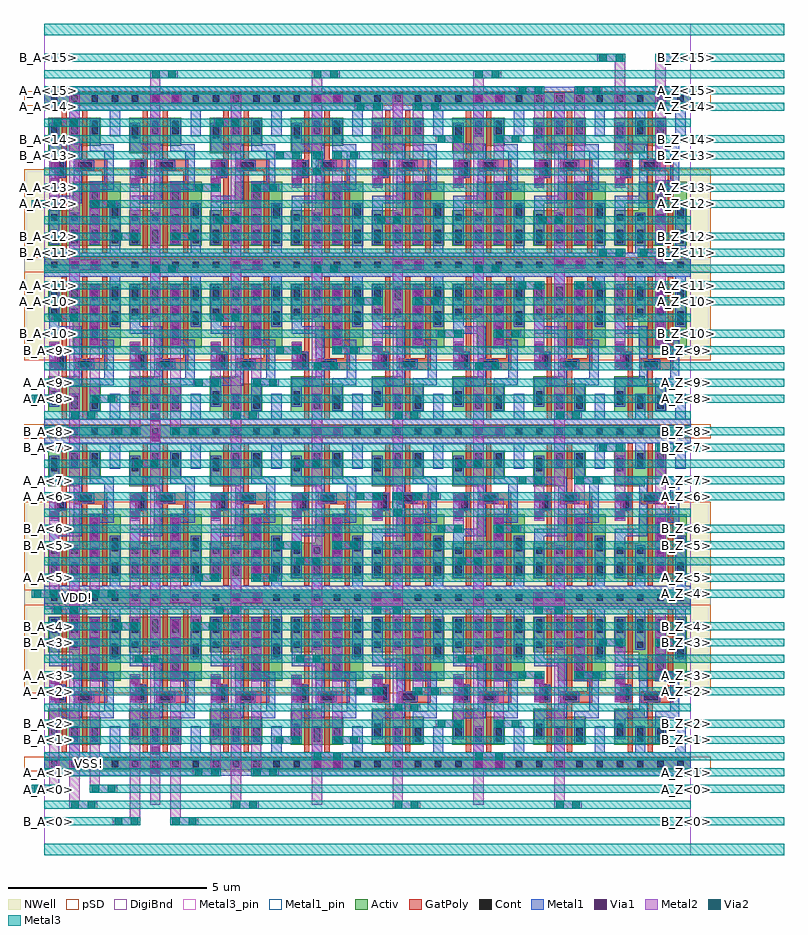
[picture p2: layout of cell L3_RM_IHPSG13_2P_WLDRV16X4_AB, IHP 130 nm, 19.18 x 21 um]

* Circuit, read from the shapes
.subckt L3_RM_IHPSG13_2P_WLDRV16X4_AB A_A<0> A_A<10> A_A<11> A_A<12> A_A<13> A_A<14> A_A<15> A_A<1> A_A<2> A_A<3> A_A<4> A_A<5> A_A<6> A_A<7> A_A<8> A_A<9> A_Z<0> A_Z<10> A_Z<11> A_Z<12> A_Z<13> A_Z<14> A_Z<15> A_Z<1> A_Z<2> A_Z<3> A_Z<4> A_Z<5> A_Z<6> A_Z<7> A_Z<8> A_Z<9> B_A<0> B_A<10> B_A<11> B_A<12> B_A<13> B_A<14> B_A<15> B_A<1> B_A<2> B_A<3> B_A<4> B_A<5> B_A<6> B_A<7> B_A<8> B_A<9> B_Z<0> B_Z<10> B_Z<11> B_Z<12> B_Z<13> B_Z<14> B_Z<15> B_Z<1> B_Z<2> B_Z<3> B_Z<4> B_Z<5> B_Z<6> B_Z<7> B_Z<8> B_Z<9> VDD! VSS!
XM1 VSS! A_A<0> n1 VSS! sg13_lv_nmos w=0.9u l=0.13u
XM2 VSS! A_A<4> n2 VSS! sg13_lv_nmos w=0.9u l=0.13u
XM3 VSS! A_A<8> n3 VSS! sg13_lv_nmos w=0.9u l=0.13u
XM4 VSS! A_A<12> n4 VSS! sg13_lv_nmos w=0.9u l=0.13u
XM5 A_Z<0> n1 VSS! VSS! sg13_lv_nmos w=0.705u l=0.13u
XM6 A_Z<4> n2 VSS! VSS! sg13_lv_nmos w=0.705u l=0.13u
XM7 A_Z<8> n3 VSS! VSS! sg13_lv_nmos w=0.705u l=0.13u
XM8 A_Z<12> n4 VSS! VSS! sg13_lv_nmos w=0.705u l=0.13u
XM9 VSS! B_A<0> n5 VSS! sg13_lv_nmos w=0.9u l=0.13u
XM10 VSS! B_A<4> n6 VSS! sg13_lv_nmos w=0.9u l=0.13u
XM11 VSS! B_A<8> n7 VSS! sg13_lv_nmos w=0.9u l=0.13u
XM12 VSS! B_A<12> n8 VSS! sg13_lv_nmos w=0.9u l=0.13u
XM13 B_Z<0> n5 VSS! VSS! sg13_lv_nmos w=0.705u l=0.13u
XM14 B_Z<4> n6 VSS! VSS! sg13_lv_nmos w=0.705u l=0.13u
XM15 B_Z<8> n7 VSS! VSS! sg13_lv_nmos w=0.705u l=0.13u
XM16 B_Z<12> n8 VSS! VSS! sg13_lv_nmos w=0.705u l=0.13u
XM17 VSS! A_A<1> n9 VSS! sg13_lv_nmos w=0.9u l=0.13u
XM18 VSS! A_A<5> n10 VSS! sg13_lv_nmos w=0.9u l=0.13u
XM19 VSS! A_A<9> n11 VSS! sg13_lv_nmos w=0.9u l=0.13u
XM20 VSS! A_A<13> n12 VSS! sg13_lv_nmos w=0.9u l=0.13u
XM21 A_Z<1> n9 VSS! VSS! sg13_lv_nmos w=0.705u l=0.13u
XM22 A_Z<5> n10 VSS! VSS! sg13_lv_nmos w=0.705u l=0.13u
XM23 A_Z<9> n11 VSS! VSS! sg13_lv_nmos w=0.705u l=0.13u
XM24 A_Z<13> n12 VSS! VSS! sg13_lv_nmos w=0.705u l=0.13u
XM25 VSS! B_A<1> n13 VSS! sg13_lv_nmos w=0.9u l=0.13u
XM26 VSS! B_A<5> n14 VSS! sg13_lv_nmos w=0.9u l=0.13u
XM27 VSS! B_A<9> n15 VSS! sg13_lv_nmos w=0.9u l=0.13u
XM28 VSS! B_A<13> n16 VSS! sg13_lv_nmos w=0.9u l=0.13u
XM29 B_Z<1> n13 VSS! VSS! sg13_lv_nmos w=0.705u l=0.13u
XM30 B_Z<5> n14 VSS! VSS! sg13_lv_nmos w=0.705u l=0.13u
XM31 B_Z<9> n15 VSS! VSS! sg13_lv_nmos w=0.705u l=0.13u
XM32 B_Z<13> n16 VSS! VSS! sg13_lv_nmos w=0.705u l=0.13u
XM33 VSS! A_A<2> n17 VSS! sg13_lv_nmos w=0.9u l=0.13u
XM34 VSS! A_A<6> n18 VSS! sg13_lv_nmos w=0.9u l=0.13u
XM35 VSS! A_A<10> n19 VSS! sg13_lv_nmos w=0.9u l=0.13u
XM36 VSS! A_A<14> n20 VSS! sg13_lv_nmos w=0.9u l=0.13u
XM37 A_Z<2> n17 VSS! VSS! sg13_lv_nmos w=0.705u l=0.13u
XM38 A_Z<6> n18 VSS! VSS! sg13_lv_nmos w=0.705u l=0.13u
XM39 A_Z<10> n19 VSS! VSS! sg13_lv_nmos w=0.705u l=0.13u
XM40 A_Z<14> n20 VSS! VSS! sg13_lv_nmos w=0.705u l=0.13u
XM41 VSS! B_A<2> n21 VSS! sg13_lv_nmos w=0.9u l=0.13u
XM42 VSS! B_A<6> n22 VSS! sg13_lv_nmos w=0.9u l=0.13u
XM43 VSS! B_A<10> n23 VSS! sg13_lv_nmos w=0.9u l=0.13u
XM44 VSS! B_A<14> n24 VSS! sg13_lv_nmos w=0.9u l=0.13u
XM45 B_Z<2> n21 VSS! VSS! sg13_lv_nmos w=0.705u l=0.13u
XM46 B_Z<6> n22 VSS! VSS! sg13_lv_nmos w=0.705u l=0.13u
XM47 B_Z<10> n23 VSS! VSS! sg13_lv_nmos w=0.705u l=0.13u
XM48 B_Z<14> n24 VSS! VSS! sg13_lv_nmos w=0.705u l=0.13u
XM49 VSS! A_A<3> n25 VSS! sg13_lv_nmos w=0.9u l=0.13u
XM50 VSS! A_A<7> n26 VSS! sg13_lv_nmos w=0.9u l=0.13u
XM51 VSS! A_A<11> n27 VSS! sg13_lv_nmos w=0.9u l=0.13u
XM52 VSS! A_A<15> n28 VSS! sg13_lv_nmos w=0.9u l=0.13u
XM53 A_Z<3> n25 VSS! VSS! sg13_lv_nmos w=0.705u l=0.13u
XM54 A_Z<7> n26 VSS! VSS! sg13_lv_nmos w=0.705u l=0.13u
XM55 A_Z<11> n27 VSS! VSS! sg13_lv_nmos w=0.705u l=0.13u
XM56 A_Z<15> n28 VSS! VSS! sg13_lv_nmos w=0.705u l=0.13u
XM57 VSS! B_A<3> n29 VSS! sg13_lv_nmos w=0.9u l=0.13u
XM58 VSS! B_A<7> n30 VSS! sg13_lv_nmos w=0.9u l=0.13u
XM59 VSS! B_A<11> n31 VSS! sg13_lv_nmos w=0.9u l=0.13u
XM60 VSS! B_A<15> n32 VSS! sg13_lv_nmos w=0.9u l=0.13u
XM61 B_Z<3> n29 VSS! VSS! sg13_lv_nmos w=0.705u l=0.13u
XM62 B_Z<7> n30 VSS! VSS! sg13_lv_nmos w=0.705u l=0.13u
XM63 B_Z<11> n31 VSS! VSS! sg13_lv_nmos w=0.705u l=0.13u
XM64 B_Z<15> n32 VSS! VSS! sg13_lv_nmos w=0.705u l=0.13u
XM65 VDD! A_A<0> n1 VDD! sg13_lv_pmos w=0.9u l=0.13u
XM66 VDD! A_A<4> n2 VDD! sg13_lv_pmos w=0.9u l=0.13u
XM67 VDD! A_A<8> n3 VDD! sg13_lv_pmos w=0.9u l=0.13u
XM68 VDD! A_A<12> n4 VDD! sg13_lv_pmos w=0.9u l=0.13u
XM69 A_Z<0> n1 VDD! VDD! sg13_lv_pmos w=1.62u l=0.13u m=2
XM70 A_Z<4> n2 VDD! VDD! sg13_lv_pmos w=1.62u l=0.13u m=2
XM71 A_Z<8> n3 VDD! VDD! sg13_lv_pmos w=1.62u l=0.13u m=2
XM72 A_Z<12> n4 VDD! VDD! sg13_lv_pmos w=1.62u l=0.13u m=2
XM73 VDD! B_A<0> n5 VDD! sg13_lv_pmos w=0.9u l=0.13u
XM74 VDD! B_A<4> n6 VDD! sg13_lv_pmos w=0.9u l=0.13u
XM75 VDD! B_A<8> n7 VDD! sg13_lv_pmos w=0.9u l=0.13u
XM76 VDD! B_A<12> n8 VDD! sg13_lv_pmos w=0.9u l=0.13u
XM77 B_Z<0> n5 VDD! VDD! sg13_lv_pmos w=1.62u l=0.13u m=2
XM78 B_Z<4> n6 VDD! VDD! sg13_lv_pmos w=1.62u l=0.13u m=2
XM79 B_Z<8> n7 VDD! VDD! sg13_lv_pmos w=1.62u l=0.13u m=2
XM80 B_Z<12> n8 VDD! VDD! sg13_lv_pmos w=1.62u l=0.13u m=2
XM81 VDD! A_A<1> n9 VDD! sg13_lv_pmos w=0.9u l=0.13u
XM82 VDD! A_A<5> n10 VDD! sg13_lv_pmos w=0.9u l=0.13u
XM83 VDD! A_A<9> n11 VDD! sg13_lv_pmos w=0.9u l=0.13u
XM84 VDD! A_A<13> n12 VDD! sg13_lv_pmos w=0.9u l=0.13u
XM85 A_Z<1> n9 VDD! VDD! sg13_lv_pmos w=1.62u l=0.13u m=2
XM86 A_Z<5> n10 VDD! VDD! sg13_lv_pmos w=1.62u l=0.13u m=2
XM87 A_Z<9> n11 VDD! VDD! sg13_lv_pmos w=1.62u l=0.13u m=2
XM88 A_Z<13> n12 VDD! VDD! sg13_lv_pmos w=1.62u l=0.13u m=2
XM89 VDD! B_A<1> n13 VDD! sg13_lv_pmos w=0.9u l=0.13u
XM90 VDD! B_A<5> n14 VDD! sg13_lv_pmos w=0.9u l=0.13u
XM91 VDD! B_A<9> n15 VDD! sg13_lv_pmos w=0.9u l=0.13u
XM92 VDD! B_A<13> n16 VDD! sg13_lv_pmos w=0.9u l=0.13u
XM93 B_Z<1> n13 VDD! VDD! sg13_lv_pmos w=1.62u l=0.13u m=2
XM94 B_Z<5> n14 VDD! VDD! sg13_lv_pmos w=1.62u l=0.13u m=2
XM95 B_Z<9> n15 VDD! VDD! sg13_lv_pmos w=1.62u l=0.13u m=2
XM96 B_Z<13> n16 VDD! VDD! sg13_lv_pmos w=1.62u l=0.13u m=2
XM97 VDD! A_A<2> n17 VDD! sg13_lv_pmos w=0.9u l=0.13u
XM98 VDD! A_A<6> n18 VDD! sg13_lv_pmos w=0.9u l=0.13u
XM99 VDD! A_A<10> n19 VDD! sg13_lv_pmos w=0.9u l=0.13u
XM100 VDD! A_A<14> n20 VDD! sg13_lv_pmos w=0.9u l=0.13u
XM101 A_Z<2> n17 VDD! VDD! sg13_lv_pmos w=1.62u l=0.13u m=2
XM102 A_Z<6> n18 VDD! VDD! sg13_lv_pmos w=1.62u l=0.13u m=2
XM103 A_Z<10> n19 VDD! VDD! sg13_lv_pmos w=1.62u l=0.13u m=2
XM104 A_Z<14> n20 VDD! VDD! sg13_lv_pmos w=1.62u l=0.13u m=2
XM105 VDD! B_A<2> n21 VDD! sg13_lv_pmos w=0.9u l=0.13u
XM106 VDD! B_A<6> n22 VDD! sg13_lv_pmos w=0.9u l=0.13u
XM107 VDD! B_A<10> n23 VDD! sg13_lv_pmos w=0.9u l=0.13u
XM108 VDD! B_A<14> n24 VDD! sg13_lv_pmos w=0.9u l=0.13u
XM109 B_Z<2> n21 VDD! VDD! sg13_lv_pmos w=1.62u l=0.13u m=2
XM110 B_Z<6> n22 VDD! VDD! sg13_lv_pmos w=1.62u l=0.13u m=2
XM111 B_Z<10> n23 VDD! VDD! sg13_lv_pmos w=1.62u l=0.13u m=2
XM112 B_Z<14> n24 VDD! VDD! sg13_lv_pmos w=1.62u l=0.13u m=2
XM113 VDD! A_A<3> n25 VDD! sg13_lv_pmos w=0.9u l=0.13u
XM114 VDD! A_A<7> n26 VDD! sg13_lv_pmos w=0.9u l=0.13u
XM115 VDD! A_A<11> n27 VDD! sg13_lv_pmos w=0.9u l=0.13u
XM116 VDD! A_A<15> n28 VDD! sg13_lv_pmos w=0.9u l=0.13u
XM117 A_Z<3> n25 VDD! VDD! sg13_lv_pmos w=1.62u l=0.13u m=2
XM118 A_Z<7> n26 VDD! VDD! sg13_lv_pmos w=1.62u l=0.13u m=2
XM119 A_Z<11> n27 VDD! VDD! sg13_lv_pmos w=1.62u l=0.13u m=2
XM120 A_Z<15> n28 VDD! VDD! sg13_lv_pmos w=1.62u l=0.13u m=2
XM121 VDD! B_A<3> n29 VDD! sg13_lv_pmos w=0.9u l=0.13u
XM122 VDD! B_A<7> n30 VDD! sg13_lv_pmos w=0.9u l=0.13u
XM123 VDD! B_A<11> n31 VDD! sg13_lv_pmos w=0.9u l=0.13u
XM124 VDD! B_A<15> n32 VDD! sg13_lv_pmos w=0.9u l=0.13u
XM125 B_Z<3> n29 VDD! VDD! sg13_lv_pmos w=1.62u l=0.13u m=2
XM126 B_Z<7> n30 VDD! VDD! sg13_lv_pmos w=1.62u l=0.13u m=2
XM127 B_Z<11> n31 VDD! VDD! sg13_lv_pmos w=1.62u l=0.13u m=2
XM128 B_Z<15> n32 VDD! VDD! sg13_lv_pmos w=1.62u l=0.13u m=2
.ends

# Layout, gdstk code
from math import pi, radians
import gdstk
lib = gdstk.Library(unit=1e-6, precision=1e-09)
def R(c, l, rs):  # rectangles x0, y0, x1, y1
    for r in rs: c.add(gdstk.rectangle(r[:2], r[2:], *l))
def A(c, l, x, y, w, h, nx, ny, dx, dy):  # array of equal rectangles
    R(c, l, [(x+i*dx, y+j*dy, x+i*dx+w, y+j*dy+h) for i in range(nx) for j in range(ny)])
def P(c, l, *ps):  # polygons
    for p in ps: c.add(gdstk.Polygon(p, *l))
Activ = (1, 0)
GatPoly = (5, 0)
Cont = (6, 0)
Metal1 = (8, 0)
Metal1_pin = (8, 2)
Metal2 = (10, 0)
pSD = (14, 0)
DigiBnd = (16, 0)
Via1 = (19, 0)
Via2 = (29, 0)
Metal3 = (30, 0)
Metal3_pin = (30, 2)
NWell = (31, 0)

l3_m3_m2_cdns_7564820148 = lib.new_cell('L3_M3_M2_CDNS_7564820148267')
R(l3_m3_m2_cdns_7564820148, Metal2, [(-0.385,-0.1,0.4,0.1)])
R(l3_m3_m2_cdns_7564820148, Via2, [(-0.335,-0.095,-0.145,0.095), (0.16,-0.095,0.35,0.095)])
R(l3_m3_m2_cdns_7564820148, Metal3, [(-0.385,-0.1,0.4,0.1)])

c_l3_m3_m2_cdns_7564820148 = lib.new_cell('L3_M3_M2_CDNS_7564820148266')
R(c_l3_m3_m2_cdns_7564820148, Metal2, [(-0.35,-0.13,0.35,0.13)])
R(c_l3_m3_m2_cdns_7564820148, Via2, [(-0.3,-0.095,-0.11,0.095), (0.11,-0.095,0.3,0.095)])
R(c_l3_m3_m2_cdns_7564820148, Metal3, [(-0.305,-0.145,0.305,0.145)])

l3_viagen12_cdns_7564820 = lib.new_cell('L3_viagen12_CDNS_7564820148225')
R(l3_viagen12_cdns_7564820, Metal1, [(-0.76,-0.13,0.76,0.13)])
R(l3_viagen12_cdns_7564820, Metal2, [(-0.76,-0.13,0.76,0.13)])
A(l3_viagen12_cdns_7564820, Via1, -0.71, -0.095, 0.19, 0.19, 4, 1, 0.41, 0)

l3_m2_m1_cdns_7564820148 = lib.new_cell('L3_M2_M1_CDNS_7564820148265')
R(l3_m2_m1_cdns_7564820148, Metal1, [(-0.385,-0.13,0.4,0.13)])
R(l3_m2_m1_cdns_7564820148, Metal2, [(-0.385,-0.13,0.4,0.13)])
R(l3_m2_m1_cdns_7564820148, Via1, [(-0.335,-0.095,-0.145,0.095), (0.16,-0.095,0.35,0.095)])

c_l3_m3_m2_cdns_7564820148_ = lib.new_cell('L3_M3_M2_CDNS_7564820148210')
R(c_l3_m3_m2_cdns_7564820148_, Metal2, [(-0.35,-0.1,0.35,0.1)])
R(c_l3_m3_m2_cdns_7564820148_, Via2, [(-0.3,-0.095,-0.11,0.095), (0.11,-0.095,0.3,0.095)])
R(c_l3_m3_m2_cdns_7564820148_, Metal3, [(-0.35,-0.1,0.35,0.1)])

l3_rsc_ihpsg13_wldrvx4 = lib.new_cell('L3_RSC_IHPSG13_WLDRVX4')
R(l3_rsc_ihpsg13_wldrvx4, Activ, [(0,-0.15,2.04,0.15), (0,4.05,2.04,4.35)])
P(l3_rsc_ihpsg13_wldrvx4, Activ, [(0.105,0.49),(0.105,1.39),(0.885,1.39),(0.885,1.195),(1.425,1.195),(1.425,0.49)],
  [(0.725,2.1),(0.725,2.82),(0.105,2.82),(0.105,3.72),(1.935,3.72),(1.935,2.1)])
P(l3_rsc_ihpsg13_wldrvx4, GatPoly, [(0.955,0.3),(0.955,1.54),(0.785,1.54),(0.785,1.84),(0.955,1.84),(0.955,3.9),(1.085,3.9),(1.085,1.84),(1.465,1.84),(1.465,3.9),(1.595,3.9),(1.595,1.54),(1.085,1.54),(1.085,0.3)],
  [(0.445,0.3),(0.445,1.54),(0.26,1.54),(0.26,2.02),(0.445,2.02),(0.445,3.9),(0.575,3.9),(0.575,0.3)])
A(l3_rsc_ihpsg13_wldrvx4, Cont, 0.175, -0.08, 0.16, 0.16, 4, 2, 0.51, 4.2)
A(l3_rsc_ihpsg13_wldrvx4, Cont, 0.175, 2.93, 0.16, 0.16, 3, 1, 0.51, 0)
A(l3_rsc_ihpsg13_wldrvx4, Cont, 0.175, 3.31, 0.16, 0.34, 4, 1, 0.51, 0)
R(l3_rsc_ihpsg13_wldrvx4, Cont, [(0.685,0.56,0.845,0.9), (1.195,0.56,1.355,0.9), (0.175,0.67,0.335,1.01), (0.33,1.61,0.49,1.95), (0.865,1.61,1.205,1.77), (1.195,2.31,1.355,2.65), (1.705,2.69,1.865,3.03)])
R(l3_rsc_ihpsg13_wldrvx4, Metal1, [(0.28,1.56,0.54,2)])
P(l3_rsc_ihpsg13_wldrvx4, Metal1, [(0.125,0.62),(0.125,1.35),(0.74,1.35),(0.74,2.46),(0.125,2.46),(0.125,3.7),(0.385,3.7),(0.385,2.65),(0.945,2.65),(0.945,1.82),(1.265,1.82),(1.265,1.56),(0.945,1.56),(0.945,1.15),(0.385,1.15),(0.385,0.62)],
  [(0,-0.3),(0,0.3),(0.635,0.3),(0.635,0.95),(0.895,0.95),(0.895,0.3),(1.655,0.3),(1.655,0.95),(1.915,0.95),(1.915,0.3),(2.04,0.3),(2.04,-0.3)],
  [(1.655,2.64),(1.655,3.9),(0.895,3.9),(0.895,2.88),(0.635,2.88),(0.635,3.9),(0,3.9),(0,4.5),(2.04,4.5),(2.04,3.9),(1.915,3.9),(1.915,2.64)],
  [(1.145,0.51),(1.145,1.33),(1.52,1.33),(1.52,2.09),(1.145,2.09),(1.145,3.7),(1.405,3.7),(1.405,2.31),(1.755,2.31),(1.755,1.155),(1.405,1.155),(1.405,0.51)])
R(l3_rsc_ihpsg13_wldrvx4, Metal1_pin, [(0,-0.3,2.04,0.3), (0.28,1.56,0.54,2), (1.145,2.115,1.405,3.7), (0,3.9,2.04,4.5)])
R(l3_rsc_ihpsg13_wldrvx4, pSD, [(-0.51,-0.18,2.55,0.18), (-0.51,1.785,2.55,4.02)])
R(l3_rsc_ihpsg13_wldrvx4, DigiBnd, [(0,-0.3,2.04,4.5)])
R(l3_rsc_ihpsg13_wldrvx4, NWell, [(-0.51,1.785,2.55,4.725)])
l3_rsc_ihpsg13_wldrvx4.add(gdstk.Label('VSS!', (0.645,0.005), layer=8, texttype=2))
l3_rsc_ihpsg13_wldrvx4.add(gdstk.Label('VDD!', (0.33,4.2), layer=8, texttype=2))
l3_rsc_ihpsg13_wldrvx4.add(gdstk.Label('Z', (1.276,2.79), layer=8, texttype=2))
l3_rsc_ihpsg13_wldrvx4.add(gdstk.Label('A', (0.41,1.78), layer=8, texttype=2))

c_l3_m2_m1_cdns_7564820148 = lib.new_cell('L3_M2_M1_CDNS_756482014820')
R(c_l3_m2_m1_cdns_7564820148, Metal1, [(-0.35,-0.13,0.35,0.13)])
R(c_l3_m2_m1_cdns_7564820148, Metal2, [(-0.35,-0.13,0.35,0.13)])
R(c_l3_m2_m1_cdns_7564820148, Via1, [(-0.3,-0.095,-0.11,0.095), (0.11,-0.095,0.3,0.095)])

l3_rm_ihpsg13_2p_wldrv16 = lib.new_cell('L3_RM_IHPSG13_2P_WLDRV16X4_AB')
R(l3_rm_ihpsg13_2p_wldrv16, Metal1, [(15.685,15.745,15.8,15.77)])
R(l3_rm_ihpsg13_2p_wldrv16, Metal1_pin, [(0,0.735,4.59,1.335), (0,4.935,4.59,5.535)])
A(l3_rm_ihpsg13_2p_wldrv16, Metal2, 0.635, 0, 0.26, 17.965, 4, 1, 4.08, 0)
A(l3_rm_ihpsg13_2p_wldrv16, Metal2, 2.675, 0, 0.26, 18.55, 3, 1, 4.08, 0)
R(l3_rm_ihpsg13_2p_wldrv16, Metal2, [(2.165,-0.51,2.425,3.035), (3.185,-0.345,3.445,3.2), (0.125,0.475,0.385,2.85), (1.145,0.475,1.405,3.62), (4.2,0.72,4.46,3.035), (5.225,0.885,5.485,3.365), (6.24,1.54,6.5,2.59), (7.265,1.64,7.525,3.66), (10.325,1.95,10.585,3.17), (11.345,1.95,11.605,3.17), (9.305,2.77,9.565,3.66), (14.405,2.775,14.665,4.2), (2.165,4.41,2.425,7.615), (3.695,4.51,3.955,5.26), (15.425,4.645,15.685,4.845), (8.27,5.02,8.795,5.105), (12.35,5.02,12.875,5.105), (3.185,5.105,3.955,5.365), (3.185,5.17,3.445,5.9), (1.145,5.335,1.405,5.85), (0.125,5.415,0.385,7.22), (4.2,5.64,4.46,7.615), (5.225,5.805,5.485,6.965), (6.245,6.46,6.505,7.615), (13.385,6.79,13.645,8.3), (15.425,6.79,15.685,9.12), (10.325,6.87,10.585,7.615), (11.345,7.19,11.605,7.73), (9.305,7.245,9.565,7.89), (12.365,7.525,12.625,8.3), (8.285,7.635,8.545,7.89), (14.405,7.635,14.665,9.12), (2.165,9.33,2.425,11.435), (3.185,9.495,3.445,12.02), (0.125,10.28,0.385,11.25), (1.145,10.315,1.405,12.44), (4.2,10.56,4.46,11.435), (5.225,10.64,5.485,12.005), (8.285,11.455,8.545,12.81), (12.365,11.455,12.625,13.22), (14.405,11.455,14.665,14.04), (10.325,11.66,10.585,11.99), (15.425,11.73,15.685,13.95), (13.385,13.06,13.645,13.22), (2.165,14.25,2.425,16.015), (0.125,15.07,0.385,15.83), (4.2,15.21,4.46,16.015), (13.385,15.445,13.645,18.1), (15.425,15.545,15.685,18.91), (9.305,15.645,9.565,17.73), (6.245,15.66,6.505,16.455), (7.265,15.66,7.525,16.455), (10.325,15.66,10.585,16.85), (11.345,15.66,11.605,16.85), (8.285,16.035,8.545,17.73), (12.365,16.035,12.625,18.14), (14.405,16.035,14.665,18.88)])
R(l3_rm_ihpsg13_2p_wldrv16, DigiBnd, [(0,-1.275,16.32,19.725)])
A(l3_rm_ihpsg13_2p_wldrv16, Metal3, 0, -0.51, 2.425, 0.2, 1, 3, 0, 4.92)
A(l3_rm_ihpsg13_2p_wldrv16, Metal3, 0, -0.1, 16.32, 0.2, 1, 8, 0, 2.46)
A(l3_rm_ihpsg13_2p_wldrv16, Metal3, -0.315, 0.31, 0.72, 0.2, 1, 4, 0, 4.92)
A(l3_rm_ihpsg13_2p_wldrv16, Metal3, 0, 1.13, 18.675, 0.2, 1, 8, 0, 2.46)
A(l3_rm_ihpsg13_2p_wldrv16, Metal3, 0, 3.18, 12.625, 0.2, 1, 4, 0, 4.92)
A(l3_rm_ihpsg13_2p_wldrv16, Metal3, 0, 6.46, 6.505, 0.2, 1, 3, 0, 4.92)
R(l3_rm_ihpsg13_2p_wldrv16, Metal3, [(0,-1.275,18.675,-0.975), (3.405,-0.51,11.45,-0.31), (11.32,-0.51,18.675,-0.31), (1.18,0.31,11.42,0.51), (11.335,0.31,18.675,0.51), (0,0.72,4.46,0.92), (5.36,0.72,11.505,0.92), (11.355,0.72,18.675,0.92), (0,1.54,6.5,1.74), (7.365,1.54,11.485,1.74), (11.38,1.54,18.675,1.74), (0,1.95,10.585,2.15), (11.4,1.95,18.675,2.15), (0,2.77,8.545,2.97), (9.49,2.77,11.49,2.97), (11.385,2.77,18.675,2.97), (13.67,3.18,18.675,3.38), (0,4,14.57,4.2), (15.425,4,18.675,4.2), (3.695,4.41,11.48,4.61), (11.375,4.41,18.675,4.61), (1.355,5.23,11.495,5.43), (11.405,5.23,18.675,5.43), (0,5.64,4.44,5.84), (5.295,5.64,11.505,5.84), (11.395,5.64,18.675,5.84), (7.315,6.46,11.83,6.66), (11.77,6.46,18.675,6.66), (0,6.87,10.505,7.07), (11.48,6.87,11.89,7.07), (11.815,6.87,18.675,7.07), (0,7.69,8.495,7.89), (9.425,7.69,11.945,7.89), (11.82,7.69,18.675,7.89), (13.385,8.1,18.675,8.3), (0,8.92,11.63,9.12), (11.6,8.92,13.56,9.12), (13.385,8.92,14.045,9.12), (15.425,8.92,18.675,9.12), (3.385,9.33,12.025,9.53), (11.805,9.33,18.675,9.53), (1.295,10.15,14.285,10.35), (11.79,10.15,18.675,10.35), (0,10.56,4.46,10.76), (5.41,10.56,13.555,10.76), (11.77,10.56,18.675,10.76), (7.555,11.38,13.815,11.58), (11.74,11.38,18.675,11.58), (0,11.79,10.55,11.99), (11.345,11.79,13.795,11.99), (11.74,11.79,18.675,11.99), (0,12.61,8.545,12.81), (9.425,12.61,15.24,12.81), (15.085,12.61,18.675,12.81), (13.385,13.02,15.37,13.22), (15.13,13.02,18.675,13.22), (0,13.84,14.605,14.04), (15.64,13.84,18.675,14.04), (0,14.25,2.39,14.45), (3.185,14.25,12.16,14.45), (12.095,14.25,18.675,14.45), (1.415,15.07,12.215,15.27), (12.105,15.07,18.675,15.27), (0,15.48,4.46,15.68), (5.395,15.48,12.16,15.68), (12.11,15.48,18.675,15.68), (7.535,16.3,12.175,16.5), (12.12,16.3,18.675,16.5), (0,16.71,10.55,16.91), (11.7,16.71,18.675,16.91), (0,17.53,8.545,17.73), (9.305,17.53,12.25,17.73), (12.165,17.53,18.675,17.73), (13.84,17.94,18.675,18.14), (0,18.76,12.255,18.96), (11.965,18.76,14.22,18.96), (15.45,18.76,18.675,18.96), (0,19.425,18.675,19.725)])
R(l3_rm_ihpsg13_2p_wldrv16, Metal3_pin, [(0,-0.51,0.2,-0.31), (16.11,-0.51,16.32,-0.31), (0,0.31,0.2,0.51), (16.11,0.31,16.32,0.51), (0,0.72,0.2,0.92), (16.11,0.72,16.32,0.92), (0,1.54,0.2,1.74), (16.11,1.54,16.32,1.74), (0,1.95,0.2,2.15), (16.11,1.95,16.32,2.15), (0,2.77,0.2,2.97), (16.11,2.77,16.32,2.97), (0,3.18,0.2,3.38), (16.11,3.18,16.32,3.38), (0,4,0.2,4.2), (16.11,4,16.32,4.2), (0,4.41,0.2,4.61), (16.11,4.41,16.32,4.61), (0,5.23,0.2,5.43), (16.11,5.23,16.32,5.43), (0,5.64,0.2,5.84), (16.11,5.64,16.32,5.84), (0,6.46,0.2,6.66), (16.11,6.46,16.32,6.66), (0,6.87,0.2,7.07), (16.11,6.87,16.32,7.07), (0,7.69,0.2,7.89), (16.11,7.69,16.32,7.89), (0,8.1,0.2,8.3), (16.11,8.1,16.32,8.3), (0,8.92,0.2,9.12), (16.11,8.92,16.32,9.12), (0,9.33,0.2,9.53), (16.11,9.33,16.32,9.53), (0,10.15,0.2,10.35), (16.11,10.15,16.32,10.35), (0,10.56,0.2,10.76), (16.11,10.56,16.32,10.76), (0,11.38,0.2,11.58), (16.11,11.38,16.32,11.58), (0,11.79,0.2,11.99), (16.11,11.79,16.32,11.99), (0,12.61,0.2,12.81), (16.11,12.61,16.32,12.81), (0,13.02,0.2,13.22), (16.11,13.02,16.32,13.22), (0,13.84,0.2,14.04), (16.11,13.84,16.32,14.04), (0,14.25,0.2,14.45), (16.11,14.25,16.32,14.45), (0,15.07,0.2,15.27), (16.11,15.07,16.32,15.27), (0,15.48,0.2,15.68), (16.11,15.48,16.32,15.68), (0,16.3,0.2,16.5), (16.11,16.3,16.32,16.5), (0,16.71,0.2,16.91), (16.11,16.71,16.32,16.91), (0,17.53,0.2,17.73), (16.11,17.53,16.32,17.73), (0,17.94,0.2,18.14), (16.11,17.94,16.32,18.14), (0,18.76,0.2,18.96), (16.11,18.76,16.32,18.96)])
l3_rm_ihpsg13_2p_wldrv16.add(gdstk.Reference(l3_m3_m2_cdns_7564820148, (7.14,1.23)))
l3_rm_ihpsg13_2p_wldrv16.add(gdstk.Reference(l3_m3_m2_cdns_7564820148, (11.22,1.23)))
l3_rm_ihpsg13_2p_wldrv16.add(gdstk.Reference(l3_m3_m2_cdns_7564820148, (8.655,4.92)))
l3_rm_ihpsg13_2p_wldrv16.add(gdstk.Reference(l3_m3_m2_cdns_7564820148, (12.735,4.92)))
l3_rm_ihpsg13_2p_wldrv16.add(gdstk.Reference(c_l3_m3_m2_cdns_7564820148, (8.925,7.585), rotation=pi/2))
l3_rm_ihpsg13_2p_wldrv16.add(gdstk.Reference(c_l3_m3_m2_cdns_7564820148, (6.885,16.195), rotation=pi/2))
l3_rm_ihpsg13_2p_wldrv16.add(gdstk.Reference(l3_viagen12_cdns_7564820, (1.275,3.93), rotation=pi/2))
l3_rm_ihpsg13_2p_wldrv16.add(gdstk.Reference(l3_viagen12_cdns_7564820, (3.315,3.93), rotation=pi/2))
l3_rm_ihpsg13_2p_wldrv16.add(gdstk.Reference(l3_viagen12_cdns_7564820, (5.355,3.93), rotation=pi/2))
l3_rm_ihpsg13_2p_wldrv16.add(gdstk.Reference(l3_viagen12_cdns_7564820, (7.395,3.93), rotation=pi/2))
l3_rm_ihpsg13_2p_wldrv16.add(gdstk.Reference(l3_viagen12_cdns_7564820, (9.435,3.93), rotation=pi/2))
l3_rm_ihpsg13_2p_wldrv16.add(gdstk.Reference(l3_viagen12_cdns_7564820, (11.475,3.93), rotation=pi/2))
l3_rm_ihpsg13_2p_wldrv16.add(gdstk.Reference(l3_viagen12_cdns_7564820, (13.515,3.93), rotation=pi/2))
l3_rm_ihpsg13_2p_wldrv16.add(gdstk.Reference(l3_viagen12_cdns_7564820, (15.555,3.93), rotation=pi/2))
l3_rm_ihpsg13_2p_wldrv16.add(gdstk.Reference(l3_viagen12_cdns_7564820, (1.275,6.54), rotation=pi/2))
l3_rm_ihpsg13_2p_wldrv16.add(gdstk.Reference(l3_viagen12_cdns_7564820, (3.315,6.54), rotation=pi/2))
l3_rm_ihpsg13_2p_wldrv16.add(gdstk.Reference(l3_viagen12_cdns_7564820, (5.355,6.54), rotation=pi/2))
l3_rm_ihpsg13_2p_wldrv16.add(gdstk.Reference(l3_viagen12_cdns_7564820, (7.395,6.54), rotation=pi/2))
l3_rm_ihpsg13_2p_wldrv16.add(gdstk.Reference(l3_viagen12_cdns_7564820, (9.435,6.54), rotation=pi/2))
l3_rm_ihpsg13_2p_wldrv16.add(gdstk.Reference(l3_viagen12_cdns_7564820, (11.475,6.54), rotation=pi/2))
l3_rm_ihpsg13_2p_wldrv16.add(gdstk.Reference(l3_viagen12_cdns_7564820, (13.515,6.54), rotation=pi/2))
l3_rm_ihpsg13_2p_wldrv16.add(gdstk.Reference(l3_viagen12_cdns_7564820, (15.555,6.54), rotation=pi/2))
l3_rm_ihpsg13_2p_wldrv16.add(gdstk.Reference(l3_viagen12_cdns_7564820, (1.275,12.33), rotation=pi/2))
l3_rm_ihpsg13_2p_wldrv16.add(gdstk.Reference(l3_viagen12_cdns_7564820, (3.315,12.33), rotation=pi/2))
l3_rm_ihpsg13_2p_wldrv16.add(gdstk.Reference(l3_viagen12_cdns_7564820, (5.355,12.33), rotation=pi/2))
l3_rm_ihpsg13_2p_wldrv16.add(gdstk.Reference(l3_viagen12_cdns_7564820, (7.395,12.33), rotation=pi/2))
l3_rm_ihpsg13_2p_wldrv16.add(gdstk.Reference(l3_viagen12_cdns_7564820, (9.435,12.33), rotation=pi/2))
l3_rm_ihpsg13_2p_wldrv16.add(gdstk.Reference(l3_viagen12_cdns_7564820, (11.475,12.33), rotation=pi/2))
l3_rm_ihpsg13_2p_wldrv16.add(gdstk.Reference(l3_viagen12_cdns_7564820, (13.515,12.33), rotation=pi/2))
l3_rm_ihpsg13_2p_wldrv16.add(gdstk.Reference(l3_viagen12_cdns_7564820, (15.555,12.33), rotation=pi/2))
l3_rm_ihpsg13_2p_wldrv16.add(gdstk.Reference(l3_viagen12_cdns_7564820, (1.275,14.94), rotation=pi/2))
l3_rm_ihpsg13_2p_wldrv16.add(gdstk.Reference(l3_viagen12_cdns_7564820, (3.315,14.94), rotation=pi/2))
l3_rm_ihpsg13_2p_wldrv16.add(gdstk.Reference(l3_viagen12_cdns_7564820, (5.355,14.94), rotation=pi/2))
l3_rm_ihpsg13_2p_wldrv16.add(gdstk.Reference(l3_viagen12_cdns_7564820, (7.395,14.94), rotation=pi/2))
l3_rm_ihpsg13_2p_wldrv16.add(gdstk.Reference(l3_viagen12_cdns_7564820, (9.435,14.94), rotation=pi/2))
l3_rm_ihpsg13_2p_wldrv16.add(gdstk.Reference(l3_viagen12_cdns_7564820, (11.475,14.94), rotation=pi/2))
l3_rm_ihpsg13_2p_wldrv16.add(gdstk.Reference(l3_viagen12_cdns_7564820, (13.515,14.94), rotation=pi/2))
l3_rm_ihpsg13_2p_wldrv16.add(gdstk.Reference(l3_viagen12_cdns_7564820, (15.555,15.01), rotation=pi/2))
l3_rm_ihpsg13_2p_wldrv16.add(gdstk.Reference(l3_m2_m1_cdns_7564820148, (7.155,1.035), rotation=pi))
l3_rm_ihpsg13_2p_wldrv16.add(gdstk.Reference(l3_m2_m1_cdns_7564820148, (11.235,1.035), rotation=pi))
l3_rm_ihpsg13_2p_wldrv16.add(gdstk.Reference(l3_m2_m1_cdns_7564820148, (5.115,5.235), rotation=pi))
l3_rm_ihpsg13_2p_wldrv16.add(gdstk.Reference(l3_m2_m1_cdns_7564820148, (8.67,5.235), rotation=pi))
l3_rm_ihpsg13_2p_wldrv16.add(gdstk.Reference(l3_m2_m1_cdns_7564820148, (12.75,5.235), rotation=pi))
l3_rm_ihpsg13_2p_wldrv16.add(gdstk.Reference(l3_m2_m1_cdns_7564820148, (7.155,9.445), rotation=pi))
l3_rm_ihpsg13_2p_wldrv16.add(gdstk.Reference(l3_m2_m1_cdns_7564820148, (11.235,9.445), rotation=pi))
l3_rm_ihpsg13_2p_wldrv16.add(gdstk.Reference(l3_m2_m1_cdns_7564820148, (1.035,13.635), rotation=pi))
l3_rm_ihpsg13_2p_wldrv16.add(gdstk.Reference(l3_m2_m1_cdns_7564820148, (5.115,13.635), rotation=pi))
l3_rm_ihpsg13_2p_wldrv16.add(gdstk.Reference(l3_m2_m1_cdns_7564820148, (9.195,13.635), rotation=pi))
l3_rm_ihpsg13_2p_wldrv16.add(gdstk.Reference(l3_m2_m1_cdns_7564820148, (13.275,13.66), rotation=pi))
l3_rm_ihpsg13_2p_wldrv16.add(gdstk.Reference(l3_m2_m1_cdns_7564820148, (3.075,17.835), rotation=pi))
l3_rm_ihpsg13_2p_wldrv16.add(gdstk.Reference(l3_m2_m1_cdns_7564820148, (7.155,17.835), rotation=pi))
l3_rm_ihpsg13_2p_wldrv16.add(gdstk.Reference(l3_m2_m1_cdns_7564820148, (11.235,17.835), rotation=pi))
l3_rm_ihpsg13_2p_wldrv16.add(gdstk.Reference(c_l3_m3_m2_cdns_7564820148_, (3.535,-0.41)))
l3_rm_ihpsg13_2p_wldrv16.add(gdstk.Reference(c_l3_m3_m2_cdns_7564820148_, (0.985,0)))
l3_rm_ihpsg13_2p_wldrv16.add(gdstk.Reference(c_l3_m3_m2_cdns_7564820148_, (5.065,0)))
l3_rm_ihpsg13_2p_wldrv16.add(gdstk.Reference(c_l3_m3_m2_cdns_7564820148_, (9.145,0)))
l3_rm_ihpsg13_2p_wldrv16.add(gdstk.Reference(c_l3_m3_m2_cdns_7564820148_, (13.225,0)))
l3_rm_ihpsg13_2p_wldrv16.add(gdstk.Reference(c_l3_m3_m2_cdns_7564820148_, (0.035,0.41)))
l3_rm_ihpsg13_2p_wldrv16.add(gdstk.Reference(c_l3_m3_m2_cdns_7564820148_, (1.495,0.41)))
l3_rm_ihpsg13_2p_wldrv16.add(gdstk.Reference(c_l3_m3_m2_cdns_7564820148_, (5.575,0.82)))
l3_rm_ihpsg13_2p_wldrv16.add(gdstk.Reference(c_l3_m3_m2_cdns_7564820148_, (9.145,2.46)))
l3_rm_ihpsg13_2p_wldrv16.add(gdstk.Reference(c_l3_m3_m2_cdns_7564820148_, (2.585,3.69)))
l3_rm_ihpsg13_2p_wldrv16.add(gdstk.Reference(c_l3_m3_m2_cdns_7564820148_, (6.665,3.69)))
l3_rm_ihpsg13_2p_wldrv16.add(gdstk.Reference(c_l3_m3_m2_cdns_7564820148_, (10.745,3.69)))
l3_rm_ihpsg13_2p_wldrv16.add(gdstk.Reference(c_l3_m3_m2_cdns_7564820148_, (4.045,4.51)))
l3_rm_ihpsg13_2p_wldrv16.add(gdstk.Reference(c_l3_m3_m2_cdns_7564820148_, (0.545,4.92)))
l3_rm_ihpsg13_2p_wldrv16.add(gdstk.Reference(c_l3_m3_m2_cdns_7564820148_, (4.625,4.92)))
l3_rm_ihpsg13_2p_wldrv16.add(gdstk.Reference(c_l3_m3_m2_cdns_7564820148_, (0.035,5.33)))
l3_rm_ihpsg13_2p_wldrv16.add(gdstk.Reference(c_l3_m3_m2_cdns_7564820148_, (1.495,5.33)))
l3_rm_ihpsg13_2p_wldrv16.add(gdstk.Reference(c_l3_m3_m2_cdns_7564820148_, (5.575,5.74)))
l3_rm_ihpsg13_2p_wldrv16.add(gdstk.Reference(c_l3_m3_m2_cdns_7564820148_, (6.665,6.15)))
l3_rm_ihpsg13_2p_wldrv16.add(gdstk.Reference(c_l3_m3_m2_cdns_7564820148_, (10.745,6.15)))
l3_rm_ihpsg13_2p_wldrv16.add(gdstk.Reference(c_l3_m3_m2_cdns_7564820148_, (9.655,7.79)))
l3_rm_ihpsg13_2p_wldrv16.add(gdstk.Reference(c_l3_m3_m2_cdns_7564820148_, (2.585,8.61)))
l3_rm_ihpsg13_2p_wldrv16.add(gdstk.Reference(c_l3_m3_m2_cdns_7564820148_, (6.665,8.61)))
l3_rm_ihpsg13_2p_wldrv16.add(gdstk.Reference(c_l3_m3_m2_cdns_7564820148_, (10.745,8.61)))
l3_rm_ihpsg13_2p_wldrv16.add(gdstk.Reference(c_l3_m3_m2_cdns_7564820148_, (3.535,9.43)))
l3_rm_ihpsg13_2p_wldrv16.add(gdstk.Reference(c_l3_m3_m2_cdns_7564820148_, (0.985,9.84)))
l3_rm_ihpsg13_2p_wldrv16.add(gdstk.Reference(c_l3_m3_m2_cdns_7564820148_, (5.065,9.84)))
l3_rm_ihpsg13_2p_wldrv16.add(gdstk.Reference(c_l3_m3_m2_cdns_7564820148_, (9.145,9.84)))
l3_rm_ihpsg13_2p_wldrv16.add(gdstk.Reference(c_l3_m3_m2_cdns_7564820148_, (13.225,9.84)))
l3_rm_ihpsg13_2p_wldrv16.add(gdstk.Reference(c_l3_m3_m2_cdns_7564820148_, (0.035,10.25)))
l3_rm_ihpsg13_2p_wldrv16.add(gdstk.Reference(c_l3_m3_m2_cdns_7564820148_, (1.495,10.25)))
l3_rm_ihpsg13_2p_wldrv16.add(gdstk.Reference(c_l3_m3_m2_cdns_7564820148_, (5.575,10.66)))
l3_rm_ihpsg13_2p_wldrv16.add(gdstk.Reference(c_l3_m3_m2_cdns_7564820148_, (7.105,11.07)))
l3_rm_ihpsg13_2p_wldrv16.add(gdstk.Reference(c_l3_m3_m2_cdns_7564820148_, (11.185,11.07)))
l3_rm_ihpsg13_2p_wldrv16.add(gdstk.Reference(c_l3_m3_m2_cdns_7564820148_, (0.545,12.3)))
l3_rm_ihpsg13_2p_wldrv16.add(gdstk.Reference(c_l3_m3_m2_cdns_7564820148_, (4.625,12.3)))
l3_rm_ihpsg13_2p_wldrv16.add(gdstk.Reference(c_l3_m3_m2_cdns_7564820148_, (3.025,13.53)))
l3_rm_ihpsg13_2p_wldrv16.add(gdstk.Reference(c_l3_m3_m2_cdns_7564820148_, (7.105,13.53)))
l3_rm_ihpsg13_2p_wldrv16.add(gdstk.Reference(c_l3_m3_m2_cdns_7564820148_, (11.185,13.53)))
l3_rm_ihpsg13_2p_wldrv16.add(gdstk.Reference(c_l3_m3_m2_cdns_7564820148_, (3.535,14.35)))
l3_rm_ihpsg13_2p_wldrv16.add(gdstk.Reference(c_l3_m3_m2_cdns_7564820148_, (4.625,14.76)))
l3_rm_ihpsg13_2p_wldrv16.add(gdstk.Reference(c_l3_m3_m2_cdns_7564820148_, (8.705,14.76)))
l3_rm_ihpsg13_2p_wldrv16.add(gdstk.Reference(c_l3_m3_m2_cdns_7564820148_, (12.785,14.76)))
l3_rm_ihpsg13_2p_wldrv16.add(gdstk.Reference(c_l3_m3_m2_cdns_7564820148_, (0.035,15.17)))
l3_rm_ihpsg13_2p_wldrv16.add(gdstk.Reference(c_l3_m3_m2_cdns_7564820148_, (1.495,15.17)))
l3_rm_ihpsg13_2p_wldrv16.add(gdstk.Reference(c_l3_m3_m2_cdns_7564820148_, (5.575,15.58)))
l3_rm_ihpsg13_2p_wldrv16.add(gdstk.Reference(c_l3_m3_m2_cdns_7564820148_, (0.545,17.22)))
l3_rm_ihpsg13_2p_wldrv16.add(gdstk.Reference(c_l3_m3_m2_cdns_7564820148_, (4.625,17.22)))
l3_rm_ihpsg13_2p_wldrv16.add(gdstk.Reference(c_l3_m3_m2_cdns_7564820148_, (9.655,17.63)))
l3_rm_ihpsg13_2p_wldrv16.add(gdstk.Reference(c_l3_m3_m2_cdns_7564820148_, (3.025,18.45)))
l3_rm_ihpsg13_2p_wldrv16.add(gdstk.Reference(c_l3_m3_m2_cdns_7564820148_, (7.105,18.45)))
l3_rm_ihpsg13_2p_wldrv16.add(gdstk.Reference(c_l3_m3_m2_cdns_7564820148_, (11.185,18.45)))
l3_rm_ihpsg13_2p_wldrv16.add(gdstk.Reference(l3_m2_m1_cdns_7564820148, (2.805,1.135), rotation=3*pi/2))
l3_rm_ihpsg13_2p_wldrv16.add(gdstk.Reference(l3_m2_m1_cdns_7564820148, (0.765,5.08), rotation=3*pi/2))
l3_rm_ihpsg13_2p_wldrv16.add(gdstk.Reference(l3_m2_m1_cdns_7564820148, (2.805,9.535), rotation=3*pi/2))
l3_rm_ihpsg13_2p_wldrv16.add(gdstk.Reference(c_l3_m3_m2_cdns_7564820148_, (2.075,-0.41), rotation=pi, x_reflection=True))
l3_rm_ihpsg13_2p_wldrv16.add(gdstk.Reference(c_l3_m3_m2_cdns_7564820148_, (4.105,0.82), rotation=pi, x_reflection=True))
l3_rm_ihpsg13_2p_wldrv16.add(gdstk.Reference(c_l3_m3_m2_cdns_7564820148_, (6.15,1.64), rotation=pi, x_reflection=True))
l3_rm_ihpsg13_2p_wldrv16.add(gdstk.Reference(c_l3_m3_m2_cdns_7564820148_, (7.62,1.64), rotation=pi, x_reflection=True))
l3_rm_ihpsg13_2p_wldrv16.add(gdstk.Reference(c_l3_m3_m2_cdns_7564820148_, (10.235,2.05), rotation=pi, x_reflection=True))
l3_rm_ihpsg13_2p_wldrv16.add(gdstk.Reference(c_l3_m3_m2_cdns_7564820148_, (11.695,2.05), rotation=pi, x_reflection=True))
l3_rm_ihpsg13_2p_wldrv16.add(gdstk.Reference(c_l3_m3_m2_cdns_7564820148_, (8.195,2.87), rotation=pi, x_reflection=True))
l3_rm_ihpsg13_2p_wldrv16.add(gdstk.Reference(c_l3_m3_m2_cdns_7564820148_, (9.655,2.87), rotation=pi, x_reflection=True))
l3_rm_ihpsg13_2p_wldrv16.add(gdstk.Reference(c_l3_m3_m2_cdns_7564820148_, (12.275,3.28), rotation=pi, x_reflection=True))
l3_rm_ihpsg13_2p_wldrv16.add(gdstk.Reference(c_l3_m3_m2_cdns_7564820148_, (13.735,3.28), rotation=pi, x_reflection=True))
l3_rm_ihpsg13_2p_wldrv16.add(gdstk.Reference(c_l3_m3_m2_cdns_7564820148_, (14.315,4.1), rotation=pi, x_reflection=True))
l3_rm_ihpsg13_2p_wldrv16.add(gdstk.Reference(c_l3_m3_m2_cdns_7564820148_, (15.775,4.1), rotation=pi, x_reflection=True))
l3_rm_ihpsg13_2p_wldrv16.add(gdstk.Reference(c_l3_m3_m2_cdns_7564820148_, (2.075,4.51), rotation=pi, x_reflection=True))
l3_rm_ihpsg13_2p_wldrv16.add(gdstk.Reference(c_l3_m3_m2_cdns_7564820148_, (4.11,5.74), rotation=pi, x_reflection=True))
l3_rm_ihpsg13_2p_wldrv16.add(gdstk.Reference(c_l3_m3_m2_cdns_7564820148_, (6.155,6.56), rotation=pi, x_reflection=True))
l3_rm_ihpsg13_2p_wldrv16.add(gdstk.Reference(c_l3_m3_m2_cdns_7564820148_, (7.615,6.56), rotation=pi, x_reflection=True))
l3_rm_ihpsg13_2p_wldrv16.add(gdstk.Reference(c_l3_m3_m2_cdns_7564820148_, (10.235,6.97), rotation=pi, x_reflection=True))
l3_rm_ihpsg13_2p_wldrv16.add(gdstk.Reference(c_l3_m3_m2_cdns_7564820148_, (11.695,6.97), rotation=pi, x_reflection=True))
l3_rm_ihpsg13_2p_wldrv16.add(gdstk.Reference(c_l3_m3_m2_cdns_7564820148_, (8.195,7.79), rotation=pi, x_reflection=True))
l3_rm_ihpsg13_2p_wldrv16.add(gdstk.Reference(c_l3_m3_m2_cdns_7564820148_, (12.275,8.2), rotation=pi, x_reflection=True))
l3_rm_ihpsg13_2p_wldrv16.add(gdstk.Reference(c_l3_m3_m2_cdns_7564820148_, (13.735,8.2), rotation=pi, x_reflection=True))
l3_rm_ihpsg13_2p_wldrv16.add(gdstk.Reference(c_l3_m3_m2_cdns_7564820148_, (14.315,9.02), rotation=pi, x_reflection=True))
l3_rm_ihpsg13_2p_wldrv16.add(gdstk.Reference(c_l3_m3_m2_cdns_7564820148_, (15.775,9.02), rotation=pi, x_reflection=True))
l3_rm_ihpsg13_2p_wldrv16.add(gdstk.Reference(c_l3_m3_m2_cdns_7564820148_, (2.075,9.43), rotation=pi, x_reflection=True))
l3_rm_ihpsg13_2p_wldrv16.add(gdstk.Reference(c_l3_m3_m2_cdns_7564820148_, (4.11,10.66), rotation=pi, x_reflection=True))
l3_rm_ihpsg13_2p_wldrv16.add(gdstk.Reference(c_l3_m3_m2_cdns_7564820148_, (6.155,11.48), rotation=pi, x_reflection=True))
l3_rm_ihpsg13_2p_wldrv16.add(gdstk.Reference(c_l3_m3_m2_cdns_7564820148_, (7.615,11.48), rotation=pi, x_reflection=True))
l3_rm_ihpsg13_2p_wldrv16.add(gdstk.Reference(c_l3_m3_m2_cdns_7564820148_, (10.235,11.89), rotation=pi, x_reflection=True))
l3_rm_ihpsg13_2p_wldrv16.add(gdstk.Reference(c_l3_m3_m2_cdns_7564820148_, (11.695,11.89), rotation=pi, x_reflection=True))
l3_rm_ihpsg13_2p_wldrv16.add(gdstk.Reference(c_l3_m3_m2_cdns_7564820148_, (8.195,12.71), rotation=pi, x_reflection=True))
l3_rm_ihpsg13_2p_wldrv16.add(gdstk.Reference(c_l3_m3_m2_cdns_7564820148_, (9.655,12.71), rotation=pi, x_reflection=True))
l3_rm_ihpsg13_2p_wldrv16.add(gdstk.Reference(c_l3_m3_m2_cdns_7564820148_, (12.275,13.12), rotation=pi, x_reflection=True))
l3_rm_ihpsg13_2p_wldrv16.add(gdstk.Reference(c_l3_m3_m2_cdns_7564820148_, (13.735,13.12), rotation=pi, x_reflection=True))
l3_rm_ihpsg13_2p_wldrv16.add(gdstk.Reference(c_l3_m3_m2_cdns_7564820148_, (14.315,13.94), rotation=pi, x_reflection=True))
l3_rm_ihpsg13_2p_wldrv16.add(gdstk.Reference(c_l3_m3_m2_cdns_7564820148_, (15.335,13.94), rotation=pi, x_reflection=True))
l3_rm_ihpsg13_2p_wldrv16.add(gdstk.Reference(c_l3_m3_m2_cdns_7564820148_, (2.075,14.35), rotation=pi, x_reflection=True))
l3_rm_ihpsg13_2p_wldrv16.add(gdstk.Reference(c_l3_m3_m2_cdns_7564820148_, (4.11,15.58), rotation=pi, x_reflection=True))
l3_rm_ihpsg13_2p_wldrv16.add(gdstk.Reference(c_l3_m3_m2_cdns_7564820148_, (6.155,16.4), rotation=pi, x_reflection=True))
l3_rm_ihpsg13_2p_wldrv16.add(gdstk.Reference(c_l3_m3_m2_cdns_7564820148_, (7.615,16.4), rotation=pi, x_reflection=True))
l3_rm_ihpsg13_2p_wldrv16.add(gdstk.Reference(c_l3_m3_m2_cdns_7564820148_, (10.235,16.81), rotation=pi, x_reflection=True))
l3_rm_ihpsg13_2p_wldrv16.add(gdstk.Reference(c_l3_m3_m2_cdns_7564820148_, (11.695,16.81), rotation=pi, x_reflection=True))
l3_rm_ihpsg13_2p_wldrv16.add(gdstk.Reference(c_l3_m3_m2_cdns_7564820148_, (8.195,17.63), rotation=pi, x_reflection=True))
l3_rm_ihpsg13_2p_wldrv16.add(gdstk.Reference(c_l3_m3_m2_cdns_7564820148_, (12.275,18.04), rotation=pi, x_reflection=True))
l3_rm_ihpsg13_2p_wldrv16.add(gdstk.Reference(c_l3_m3_m2_cdns_7564820148_, (13.74,18.04), rotation=pi, x_reflection=True))
l3_rm_ihpsg13_2p_wldrv16.add(gdstk.Reference(c_l3_m3_m2_cdns_7564820148_, (14.315,18.86), rotation=pi, x_reflection=True))
l3_rm_ihpsg13_2p_wldrv16.add(gdstk.Reference(c_l3_m3_m2_cdns_7564820148_, (15.775,18.86), rotation=pi, x_reflection=True))
r = gdstk.Reference(l3_rsc_ihpsg13_wldrvx4, (0,1.035)); r.repetition = gdstk.Repetition(4, 2, v1=(4.08,0), v2=(0,8.4)); l3_rm_ihpsg13_2p_wldrv16.add(r)
r = gdstk.Reference(l3_rsc_ihpsg13_wldrvx4, (2.04,1.035)); r.repetition = gdstk.Repetition(4, 2, v1=(4.08,0), v2=(0,8.4)); l3_rm_ihpsg13_2p_wldrv16.add(r)
l3_rm_ihpsg13_2p_wldrv16.add(gdstk.Reference(c_l3_m2_m1_cdns_7564820148, (6.37,2.94), rotation=pi/2))
l3_rm_ihpsg13_2p_wldrv16.add(gdstk.Reference(c_l3_m2_m1_cdns_7564820148, (0.255,2.945), rotation=pi/2))
l3_rm_ihpsg13_2p_wldrv16.add(gdstk.Reference(c_l3_m2_m1_cdns_7564820148, (2.295,2.945), rotation=pi/2))
l3_rm_ihpsg13_2p_wldrv16.add(gdstk.Reference(c_l3_m2_m1_cdns_7564820148, (4.33,2.945), rotation=pi/2))
l3_rm_ihpsg13_2p_wldrv16.add(gdstk.Reference(c_l3_m2_m1_cdns_7564820148, (8.415,2.945), rotation=pi/2))
l3_rm_ihpsg13_2p_wldrv16.add(gdstk.Reference(c_l3_m2_m1_cdns_7564820148, (10.455,2.945), rotation=pi/2))
l3_rm_ihpsg13_2p_wldrv16.add(gdstk.Reference(c_l3_m2_m1_cdns_7564820148, (12.495,2.945), rotation=pi/2))
l3_rm_ihpsg13_2p_wldrv16.add(gdstk.Reference(c_l3_m2_m1_cdns_7564820148, (14.535,2.945), rotation=pi/2))
l3_rm_ihpsg13_2p_wldrv16.add(gdstk.Reference(c_l3_m2_m1_cdns_7564820148, (0.255,7.525), rotation=pi/2))
l3_rm_ihpsg13_2p_wldrv16.add(gdstk.Reference(c_l3_m2_m1_cdns_7564820148, (2.295,7.525), rotation=pi/2))
l3_rm_ihpsg13_2p_wldrv16.add(gdstk.Reference(c_l3_m2_m1_cdns_7564820148, (4.33,7.525), rotation=pi/2))
l3_rm_ihpsg13_2p_wldrv16.add(gdstk.Reference(c_l3_m2_m1_cdns_7564820148, (6.375,7.525), rotation=pi/2))
l3_rm_ihpsg13_2p_wldrv16.add(gdstk.Reference(c_l3_m2_m1_cdns_7564820148, (8.415,7.525), rotation=pi/2))
l3_rm_ihpsg13_2p_wldrv16.add(gdstk.Reference(c_l3_m2_m1_cdns_7564820148, (10.455,7.525), rotation=pi/2))
l3_rm_ihpsg13_2p_wldrv16.add(gdstk.Reference(c_l3_m2_m1_cdns_7564820148, (12.495,7.525), rotation=pi/2))
l3_rm_ihpsg13_2p_wldrv16.add(gdstk.Reference(c_l3_m2_m1_cdns_7564820148, (14.535,7.525), rotation=pi/2))
l3_rm_ihpsg13_2p_wldrv16.add(gdstk.Reference(c_l3_m2_m1_cdns_7564820148, (0.255,11.345), rotation=pi/2))
l3_rm_ihpsg13_2p_wldrv16.add(gdstk.Reference(c_l3_m2_m1_cdns_7564820148, (2.295,11.345), rotation=pi/2))
l3_rm_ihpsg13_2p_wldrv16.add(gdstk.Reference(c_l3_m2_m1_cdns_7564820148, (4.33,11.345), rotation=pi/2))
l3_rm_ihpsg13_2p_wldrv16.add(gdstk.Reference(c_l3_m2_m1_cdns_7564820148, (6.375,11.345), rotation=pi/2))
l3_rm_ihpsg13_2p_wldrv16.add(gdstk.Reference(c_l3_m2_m1_cdns_7564820148, (8.415,11.345), rotation=pi/2))
l3_rm_ihpsg13_2p_wldrv16.add(gdstk.Reference(c_l3_m2_m1_cdns_7564820148, (10.455,11.345), rotation=pi/2))
l3_rm_ihpsg13_2p_wldrv16.add(gdstk.Reference(c_l3_m2_m1_cdns_7564820148, (12.495,11.345), rotation=pi/2))
l3_rm_ihpsg13_2p_wldrv16.add(gdstk.Reference(c_l3_m2_m1_cdns_7564820148, (14.535,11.345), rotation=pi/2))
l3_rm_ihpsg13_2p_wldrv16.add(gdstk.Reference(c_l3_m2_m1_cdns_7564820148, (0.255,15.925), rotation=pi/2))
l3_rm_ihpsg13_2p_wldrv16.add(gdstk.Reference(c_l3_m2_m1_cdns_7564820148, (2.295,15.925), rotation=pi/2))
l3_rm_ihpsg13_2p_wldrv16.add(gdstk.Reference(c_l3_m2_m1_cdns_7564820148, (4.33,15.925), rotation=pi/2))
l3_rm_ihpsg13_2p_wldrv16.add(gdstk.Reference(c_l3_m2_m1_cdns_7564820148, (6.375,15.925), rotation=pi/2))
l3_rm_ihpsg13_2p_wldrv16.add(gdstk.Reference(c_l3_m2_m1_cdns_7564820148, (8.415,15.925), rotation=pi/2))
l3_rm_ihpsg13_2p_wldrv16.add(gdstk.Reference(c_l3_m2_m1_cdns_7564820148, (10.455,15.925), rotation=pi/2))
l3_rm_ihpsg13_2p_wldrv16.add(gdstk.Reference(c_l3_m2_m1_cdns_7564820148, (12.495,15.925), rotation=pi/2))
l3_rm_ihpsg13_2p_wldrv16.add(gdstk.Reference(c_l3_m2_m1_cdns_7564820148, (14.535,15.925), rotation=pi/2))
r = gdstk.Reference(l3_rsc_ihpsg13_wldrvx4, (0,17.835), x_reflection=True); r.repetition = gdstk.Repetition(2, 4, v1=(0,-8.4), v2=(4.08,0)); l3_rm_ihpsg13_2p_wldrv16.add(r)
r = gdstk.Reference(l3_rsc_ihpsg13_wldrvx4, (2.04,17.835), x_reflection=True); r.repetition = gdstk.Repetition(2, 4, v1=(0,-8.4), v2=(4.08,0)); l3_rm_ihpsg13_2p_wldrv16.add(r)
l3_rm_ihpsg13_2p_wldrv16.add(gdstk.Label('VDD!', (0.84,5.235), layer=8, texttype=2))
l3_rm_ihpsg13_2p_wldrv16.add(gdstk.Label('VSS!', (1.155,1.04), layer=8, texttype=2))
l3_rm_ihpsg13_2p_wldrv16.add(gdstk.Label('B_Z<6>', (16.215,6.97), layer=30, texttype=25))
l3_rm_ihpsg13_2p_wldrv16.add(gdstk.Label('B_Z<10>', (16.215,11.89), layer=30, texttype=25))
l3_rm_ihpsg13_2p_wldrv16.add(gdstk.Label('B_A<3>', (0.105,4.1), layer=30, texttype=25))
l3_rm_ihpsg13_2p_wldrv16.add(gdstk.Label('A_A<15>', (0.105,18.04), layer=30, texttype=25))
l3_rm_ihpsg13_2p_wldrv16.add(gdstk.Label('B_A<13>', (0.105,16.4), layer=30, texttype=25))
l3_rm_ihpsg13_2p_wldrv16.add(gdstk.Label('B_Z<5>', (16.215,6.56), layer=30, texttype=25))
l3_rm_ihpsg13_2p_wldrv16.add(gdstk.Label('A_A<11>', (0.105,13.12), layer=30, texttype=25))
l3_rm_ihpsg13_2p_wldrv16.add(gdstk.Label('A_A<3>', (0.105,3.28), layer=30, texttype=25))
l3_rm_ihpsg13_2p_wldrv16.add(gdstk.Label('B_A<7>', (0.105,9.02), layer=30, texttype=25))
l3_rm_ihpsg13_2p_wldrv16.add(gdstk.Label('B_A<14>', (0.105,16.81), layer=30, texttype=25))
l3_rm_ihpsg13_2p_wldrv16.add(gdstk.Label('A_A<4>', (0.105,5.33), layer=30, texttype=25))
l3_rm_ihpsg13_2p_wldrv16.add(gdstk.Label('B_A<11>', (0.105,13.94), layer=30, texttype=25))
l3_rm_ihpsg13_2p_wldrv16.add(gdstk.Label('B_A<10>', (0.105,11.89), layer=30, texttype=25))
l3_rm_ihpsg13_2p_wldrv16.add(gdstk.Label('B_A<15>', (0.105,18.86), layer=30, texttype=25))
l3_rm_ihpsg13_2p_wldrv16.add(gdstk.Label('B_A<8>', (0.105,9.43), layer=30, texttype=25))
l3_rm_ihpsg13_2p_wldrv16.add(gdstk.Label('B_A<4>', (0.105,4.51), layer=30, texttype=25))
l3_rm_ihpsg13_2p_wldrv16.add(gdstk.Label('A_Z<13>', (16.215,15.58), layer=30, texttype=25))
l3_rm_ihpsg13_2p_wldrv16.add(gdstk.Label('B_A<12>', (0.105,14.35), layer=30, texttype=25))
l3_rm_ihpsg13_2p_wldrv16.add(gdstk.Label('B_Z<2>', (16.215,2.05), layer=30, texttype=25))
l3_rm_ihpsg13_2p_wldrv16.add(gdstk.Label('A_A<0>', (0.105,0.4), layer=30, texttype=25))
l3_rm_ihpsg13_2p_wldrv16.add(gdstk.Label('A_A<10>', (0.105,12.71), layer=30, texttype=25))
l3_rm_ihpsg13_2p_wldrv16.add(gdstk.Label('A_A<13>', (0.105,15.58), layer=30, texttype=25))
l3_rm_ihpsg13_2p_wldrv16.add(gdstk.Label('A_A<6>', (0.105,7.79), layer=30, texttype=25))
l3_rm_ihpsg13_2p_wldrv16.add(gdstk.Label('A_A<1>', (0.105,0.82), layer=30, texttype=25))
l3_rm_ihpsg13_2p_wldrv16.add(gdstk.Label('A_Z<15>', (16.215,18.04), layer=30, texttype=25))
l3_rm_ihpsg13_2p_wldrv16.add(gdstk.Label('B_Z<1>', (16.215,1.64), layer=30, texttype=25))
l3_rm_ihpsg13_2p_wldrv16.add(gdstk.Label('A_Z<0>', (16.215,0.4), layer=30, texttype=25))
l3_rm_ihpsg13_2p_wldrv16.add(gdstk.Label('A_A<5>', (0.105,5.74), layer=30, texttype=25))
l3_rm_ihpsg13_2p_wldrv16.add(gdstk.Label('B_Z<14>', (16.215,16.81), layer=30, texttype=25))
l3_rm_ihpsg13_2p_wldrv16.add(gdstk.Label('A_A<7>', (0.105,8.2), layer=30, texttype=25))
l3_rm_ihpsg13_2p_wldrv16.add(gdstk.Label('A_A<9>', (0.105,10.66), layer=30, texttype=25))
l3_rm_ihpsg13_2p_wldrv16.add(gdstk.Label('B_A<2>', (0.105,2.05), layer=30, texttype=25))
l3_rm_ihpsg13_2p_wldrv16.add(gdstk.Label('B_A<1>', (0.105,1.64), layer=30, texttype=25))
l3_rm_ihpsg13_2p_wldrv16.add(gdstk.Label('A_Z<4>', (16.215,5.33), layer=30, texttype=25))
l3_rm_ihpsg13_2p_wldrv16.add(gdstk.Label('A_A<14>', (0.105,17.63), layer=30, texttype=25))
l3_rm_ihpsg13_2p_wldrv16.add(gdstk.Label('A_Z<10>', (16.215,12.71), layer=30, texttype=25))
l3_rm_ihpsg13_2p_wldrv16.add(gdstk.Label('B_A<6>', (0.105,6.97), layer=30, texttype=25))
l3_rm_ihpsg13_2p_wldrv16.add(gdstk.Label('B_A<9>', (0.105,11.48), layer=30, texttype=25))
l3_rm_ihpsg13_2p_wldrv16.add(gdstk.Label('A_Z<8>', (16.215,10.25), layer=30, texttype=25))
l3_rm_ihpsg13_2p_wldrv16.add(gdstk.Label('A_Z<11>', (16.215,13.12), layer=30, texttype=25))
l3_rm_ihpsg13_2p_wldrv16.add(gdstk.Label('A_Z<12>', (16.215,15.17), layer=30, texttype=25))
l3_rm_ihpsg13_2p_wldrv16.add(gdstk.Label('A_Z<9>', (16.215,10.66), layer=30, texttype=25))
l3_rm_ihpsg13_2p_wldrv16.add(gdstk.Label('A_A<2>', (0.105,2.87), layer=30, texttype=25))
l3_rm_ihpsg13_2p_wldrv16.add(gdstk.Label('A_A<12>', (0.105,15.17), layer=30, texttype=25))
l3_rm_ihpsg13_2p_wldrv16.add(gdstk.Label('B_Z<4>', (16.215,4.51), layer=30, texttype=25))
l3_rm_ihpsg13_2p_wldrv16.add(gdstk.Label('A_Z<5>', (16.215,5.74), layer=30, texttype=25))
l3_rm_ihpsg13_2p_wldrv16.add(gdstk.Label('A_Z<1>', (16.215,0.82), layer=30, texttype=25))
l3_rm_ihpsg13_2p_wldrv16.add(gdstk.Label('B_A<0>', (0.105,-0.42), layer=30, texttype=25))
l3_rm_ihpsg13_2p_wldrv16.add(gdstk.Label('A_A<8>', (0.105,10.25), layer=30, texttype=25))
l3_rm_ihpsg13_2p_wldrv16.add(gdstk.Label('B_Z<0>', (16.215,-0.42), layer=30, texttype=25))
l3_rm_ihpsg13_2p_wldrv16.add(gdstk.Label('B_Z<9>', (16.215,11.48), layer=30, texttype=25))
l3_rm_ihpsg13_2p_wldrv16.add(gdstk.Label('B_Z<13>', (16.215,16.4), layer=30, texttype=25))
l3_rm_ihpsg13_2p_wldrv16.add(gdstk.Label('A_Z<2>', (16.215,2.87), layer=30, texttype=25))
l3_rm_ihpsg13_2p_wldrv16.add(gdstk.Label('A_Z<14>', (16.215,17.63), layer=30, texttype=25))
l3_rm_ihpsg13_2p_wldrv16.add(gdstk.Label('A_Z<6>', (16.215,7.79), layer=30, texttype=25))
l3_rm_ihpsg13_2p_wldrv16.add(gdstk.Label('B_Z<12>', (16.215,14.35), layer=30, texttype=25))
l3_rm_ihpsg13_2p_wldrv16.add(gdstk.Label('A_Z<3>', (16.215,3.28), layer=30, texttype=25))
l3_rm_ihpsg13_2p_wldrv16.add(gdstk.Label('A_Z<7>', (16.215,8.2), layer=30, texttype=25))
l3_rm_ihpsg13_2p_wldrv16.add(gdstk.Label('B_Z<15>', (16.215,18.86), layer=30, texttype=25))
l3_rm_ihpsg13_2p_wldrv16.add(gdstk.Label('B_A<5>', (0.105,6.56), layer=30, texttype=25))
l3_rm_ihpsg13_2p_wldrv16.add(gdstk.Label('B_Z<3>', (16.215,4.1), layer=30, texttype=25))
l3_rm_ihpsg13_2p_wldrv16.add(gdstk.Label('B_Z<8>', (16.215,9.43), layer=30, texttype=25))
l3_rm_ihpsg13_2p_wldrv16.add(gdstk.Label('B_Z<7>', (16.215,9.02), layer=30, texttype=25))
l3_rm_ihpsg13_2p_wldrv16.add(gdstk.Label('B_Z<11>', (16.215,13.94), layer=30, texttype=25))

lib.write_gds('L3_RM_IHPSG13_2P_WLDRV16X4_AB.gds')
